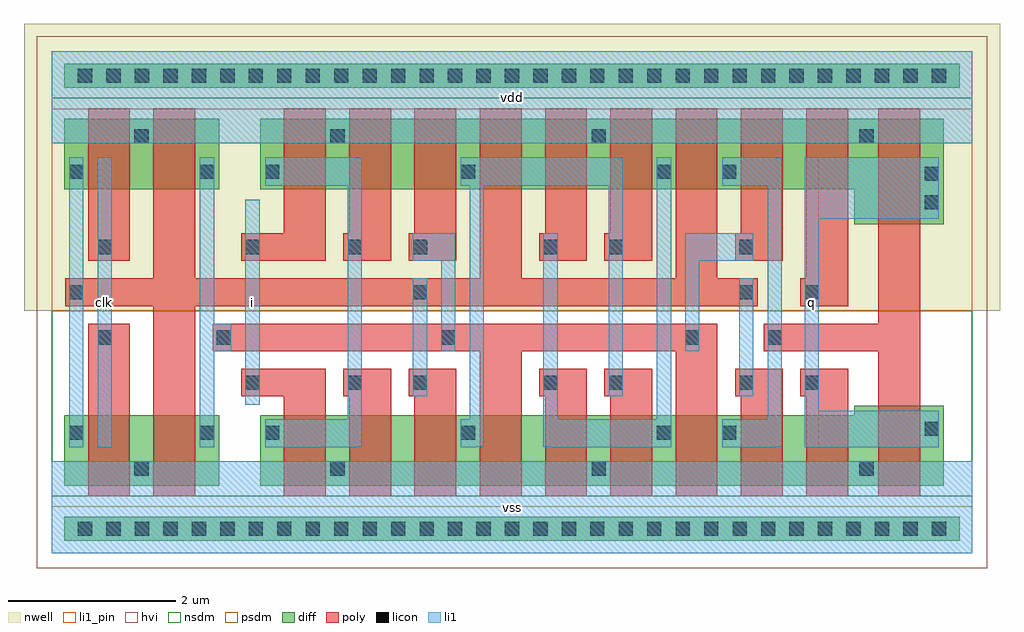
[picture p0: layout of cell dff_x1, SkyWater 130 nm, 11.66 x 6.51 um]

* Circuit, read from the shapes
.subckt dff_x1 clk i q vdd vss
XM1 vss clk n1 VSUBS sky130_fd_pr__nfet_g5v0d10v5 w=0.84 l=0.5
XM2 n2 n1 vss VSUBS sky130_fd_pr__nfet_g5v0d10v5 w=0.84 l=0.5
XM3 vss i n3 VSUBS sky130_fd_pr__nfet_g5v0d10v5 w=0.84 l=0.5
XM4 n4 n3 vss VSUBS sky130_fd_pr__nfet_g5v0d10v5 w=0.84 l=0.5
XM5 n5 n1 n4 VSUBS sky130_fd_pr__nfet_g5v0d10v5 w=0.84 l=0.5
XM6 n6 n2 n5 VSUBS sky130_fd_pr__nfet_g5v0d10v5 w=0.84 l=0.5
XM7 vss n7 n6 VSUBS sky130_fd_pr__nfet_g5v0d10v5 w=0.84 l=0.5
XM8 n7 n5 vss VSUBS sky130_fd_pr__nfet_g5v0d10v5 w=0.84 l=0.5
XM9 n8 n2 n7 VSUBS sky130_fd_pr__nfet_g5v0d10v5 w=0.84 l=0.5
XM10 n9 n1 n8 VSUBS sky130_fd_pr__nfet_g5v0d10v5 w=0.84 l=0.5
XM11 vss q n9 VSUBS sky130_fd_pr__nfet_g5v0d10v5 w=0.84 l=0.5
XM12 q n8 vss VSUBS sky130_fd_pr__nfet_g5v0d10v5 w=0.955 l=0.5
XM13 vdd clk n1 n10 sky130_fd_pr__pfet_g5v0d10v5 w=0.84 l=0.5
XM14 n2 n1 vdd n10 sky130_fd_pr__pfet_g5v0d10v5 w=0.84 l=0.5
XM15 vdd i n3 n10 sky130_fd_pr__pfet_g5v0d10v5 w=0.84 l=0.5
XM16 n11 n3 vdd n10 sky130_fd_pr__pfet_g5v0d10v5 w=0.84 l=0.5
XM17 n5 n2 n11 n10 sky130_fd_pr__pfet_g5v0d10v5 w=0.84 l=0.5
XM18 n12 n1 n5 n10 sky130_fd_pr__pfet_g5v0d10v5 w=0.84 l=0.5
XM19 vdd n7 n12 n10 sky130_fd_pr__pfet_g5v0d10v5 w=0.84 l=0.5
XM20 n7 n5 vdd n10 sky130_fd_pr__pfet_g5v0d10v5 w=0.84 l=0.5
XM21 n8 n1 n7 n10 sky130_fd_pr__pfet_g5v0d10v5 w=0.84 l=0.5
XM22 n13 n2 n8 n10 sky130_fd_pr__pfet_g5v0d10v5 w=0.84 l=0.5
XM23 vdd q n13 n10 sky130_fd_pr__pfet_g5v0d10v5 w=0.84 l=0.5
XM24 q n8 vdd n10 sky130_fd_pr__pfet_g5v0d10v5 w=1.255 l=0.5
.ends

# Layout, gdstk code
import gdstk
lib = gdstk.Library(unit=1e-6, precision=1e-09)
def R(c, l, rs):  # rectangles x0, y0, x1, y1
    for r in rs: c.add(gdstk.rectangle(r[:2], r[2:], *l))
def A(c, l, x, y, w, h, nx, ny, dx, dy):  # array of equal rectangles
    R(c, l, [(x+i*dx, y+j*dy, x+i*dx+w, y+j*dy+h) for i in range(nx) for j in range(ny)])
def P(c, l, *ps):  # polygons
    for p in ps: c.add(gdstk.Polygon(p, *l))
nwell = (64, 20)
diff = (65, 20)
poly = (66, 20)
licon = (66, 44)
li1_pin = (67, 16)
li1 = (67, 20)
hvi = (75, 20)
nsdm = (93, 44)
psdm = (94, 20)

dff_x1 = lib.new_cell('dff_x1')
R(dff_x1, nwell, [(-0.33,2.9,11.33,6.33)])
R(dff_x1, diff, [(0.15,0.15,10.85,0.44), (0.15,0.81,2,1.65), (0.15,4.35,2,5.19), (0.15,5.56,10.85,5.85)])
P(dff_x1, diff, [(9.59,3.935),(9.59,4.35),(2.49,4.35),(2.49,5.19),(10.66,5.19),(10.66,3.935)],
  [(2.49,0.81),(2.49,1.65),(9.59,1.65),(9.59,1.765),(10.66,1.765),(10.66,0.81)])
R(dff_x1, poly, [(0.435,0.68,0.935,2.745), (0.435,3.495,0.935,5.32)])
P(dff_x1, poly, [(4.335,0.68),(4.335,1.875),(4.265,1.875),(4.265,2.205),(4.835,2.205),(4.835,0.68)],
  [(8.235,0.68),(8.235,1.875),(8.165,1.875),(8.165,2.205),(8.735,2.205),(8.735,0.68)],
  [(1.215,0.68),(1.215,2.955),(0.16,2.955),(0.16,3.285),(1.215,3.285),(1.215,5.32),(1.715,5.32),(1.715,3.285),(5.115,3.285),(5.115,5.32),(5.615,5.32),(5.615,3.285),(7.455,3.285),(7.455,5.32),(7.955,5.32),(7.955,3.285),(8.435,3.285),(8.435,2.955),(1.715,2.955),(1.715,0.68)],
  [(5.115,0.68),(5.115,2.415),(1.925,2.415),(1.925,2.745),(7.955,2.745),(7.955,0.68),(7.455,0.68),(7.455,2.415),(5.615,2.415),(5.615,0.68)],
  [(8.165,3.495),(8.165,3.825),(8.235,3.825),(8.235,5.32),(8.735,5.32),(8.735,3.495)],
  [(4.265,3.495),(4.265,3.825),(4.335,3.825),(4.335,5.32),(4.835,5.32),(4.835,3.495)],
  [(3.555,0.68),(3.555,1.875),(3.485,1.875),(3.485,2.205),(4.055,2.205),(4.055,0.68)],
  [(3.485,3.495),(3.485,3.825),(3.555,3.825),(3.555,5.32),(4.055,5.32),(4.055,3.495)],
  [(2.265,3.495),(2.265,3.825),(2.775,3.825),(2.775,5.32),(3.275,5.32),(3.275,3.495)],
  [(2.775,0.68),(2.775,1.875),(2.265,1.875),(2.265,2.205),(3.275,2.205),(3.275,0.68)],
  [(6.675,0.68),(6.675,1.875),(6.605,1.875),(6.605,2.205),(7.175,2.205),(7.175,0.68)],
  [(6.605,3.495),(6.605,3.825),(6.675,3.825),(6.675,5.32),(7.175,5.32),(7.175,3.495)],
  [(5.825,3.495),(5.825,3.825),(5.895,3.825),(5.895,5.32),(6.395,5.32),(6.395,3.495)],
  [(5.895,0.68),(5.895,1.875),(5.825,1.875),(5.825,2.205),(6.395,2.205),(6.395,0.68)],
  [(9.875,0.68),(9.875,2.415),(8.505,2.415),(8.505,2.745),(9.875,2.745),(9.875,5.32),(10.375,5.32),(10.375,0.68)],
  [(8.945,2.955),(8.945,3.285),(9.015,3.285),(9.015,5.32),(9.515,5.32),(9.515,2.955)],
  [(9.015,0.68),(9.015,1.875),(8.945,1.875),(8.945,2.205),(9.515,2.205),(9.515,0.68)])
A(dff_x1, licon, 0.315, 0.21, 0.17, 0.17, 31, 2, 0.34, 5.41)
A(dff_x1, licon, 2.55, 1.355, 0.17, 0.17, 3, 2, 2.34, 3.12)
R(dff_x1, licon, [(0.99,0.93,1.16,1.1), (3.33,0.93,3.5,1.1), (6.45,0.93,6.62,1.1), (9.65,0.93,9.82,1.1), (0.21,1.355,0.38,1.525), (1.77,1.355,1.94,1.525), (8.01,1.355,8.18,1.525), (10.43,1.405,10.6,1.575), (2.315,1.955,2.485,2.125), (3.535,1.955,3.705,2.125), (4.315,1.955,4.485,2.125), (5.875,1.955,6.045,2.125), (6.655,1.955,6.825,2.125), (8.215,1.955,8.385,2.125), (8.995,1.955,9.165,2.125), (0.55,2.495,0.72,2.665), (1.975,2.495,2.145,2.665), (4.655,2.495,4.825,2.665), (7.57,2.495,7.74,2.665), (8.555,2.495,8.725,2.665), (0.21,3.035,0.38,3.205), (4.315,3.035,4.485,3.205), (8.215,3.035,8.385,3.205), (8.995,3.035,9.165,3.205), (0.55,3.575,0.72,3.745), (2.315,3.575,2.485,3.745), (3.535,3.575,3.705,3.745), (4.315,3.575,4.485,3.745), (5.875,3.575,6.045,3.745), (6.655,3.575,6.825,3.745), (8.215,3.575,8.385,3.745), (10.43,4.11,10.6,4.28), (10.43,4.45,10.6,4.62), (0.21,4.475,0.38,4.645), (1.77,4.475,1.94,4.645), (8.01,4.475,8.18,4.645), (0.99,4.9,1.16,5.07), (3.33,4.9,3.5,5.07), (6.45,4.9,6.62,5.07), (9.65,4.9,9.82,5.07)])
R(dff_x1, li1_pin, [(0,0,11,1.1), (0.55,1.27,0.72,4.73), (8.995,1.27,9.165,4.73), (2.315,1.775,2.485,4.225), (0,4.9,11,6)])
R(dff_x1, li1, [(0,0,11,1.1), (0.21,1.27,0.38,4.73), (0.55,1.27,0.72,4.73), (2.315,1.775,2.485,4.225), (4.315,1.875,4.485,3.285), (8.215,1.875,8.385,3.285), (0,4.9,11,6)])
P(dff_x1, li1, [(4.655,2.415),(4.655,3.495),(4.315,3.495),(4.315,3.825),(4.825,3.825),(4.825,2.415)],
  [(1.77,1.27),(1.77,4.73),(1.94,4.73),(1.94,2.745),(2.145,2.745),(2.145,2.415),(1.94,2.415),(1.94,1.27)],
  [(7.57,2.415),(7.57,3.825),(8.385,3.825),(8.385,3.495),(7.74,3.495),(7.74,2.415)],
  [(2.55,1.27),(2.55,1.605),(3.535,1.605),(3.535,4.395),(2.55,4.395),(2.55,4.73),(3.62,4.73),(3.62,4.725),(3.705,4.725),(3.705,1.275),(3.62,1.275),(3.62,1.27)],
  [(4.89,1.27),(4.89,1.605),(4.995,1.605),(4.995,4.395),(4.89,4.395),(4.89,4.73),(6.74,4.73),(6.74,4.725),(6.825,4.725),(6.825,1.875),(6.655,1.875),(6.655,4.395),(5.165,4.395),(5.165,1.275),(5.08,1.275),(5.08,1.27)],
  [(5.96,1.27),(5.96,1.275),(5.875,1.275),(5.875,3.825),(6.045,3.825),(6.045,1.605),(7.23,1.605),(7.23,4.73),(7.4,4.73),(7.4,1.27)],
  [(8.01,1.27),(8.01,1.605),(8.555,1.605),(8.555,4.395),(8.01,4.395),(8.01,4.73),(8.64,4.73),(8.64,4.725),(8.725,4.725),(8.725,1.275),(8.64,1.275),(8.64,1.27)],
  [(8.995,1.27),(8.995,4.73),(10.6,4.73),(10.6,3.995),(9.165,3.995),(9.165,1.705),(10.6,1.705),(10.6,1.27)])
R(dff_x1, hvi, [(-0.18,-0.18,11.18,6.18)])
R(dff_x1, nsdm, [(0,0.685,11,2.9), (0,5.435,11,6)])
R(dff_x1, psdm, [(0,0,11,0.565), (0,2.9,11,5.315)])
dff_x1.add(gdstk.Label('vdd', (5.5,5.45), layer=67, texttype=16))
dff_x1.add(gdstk.Label('vss', (5.5,0.55), layer=67, texttype=16))
dff_x1.add(gdstk.Label('clk', (0.635,3), layer=67, texttype=16))
dff_x1.add(gdstk.Label('i', (2.4,3), layer=67, texttype=16))
dff_x1.add(gdstk.Label('q', (9.08,3), layer=67, texttype=16))

lib.write_gds('dff_x1.gds')
